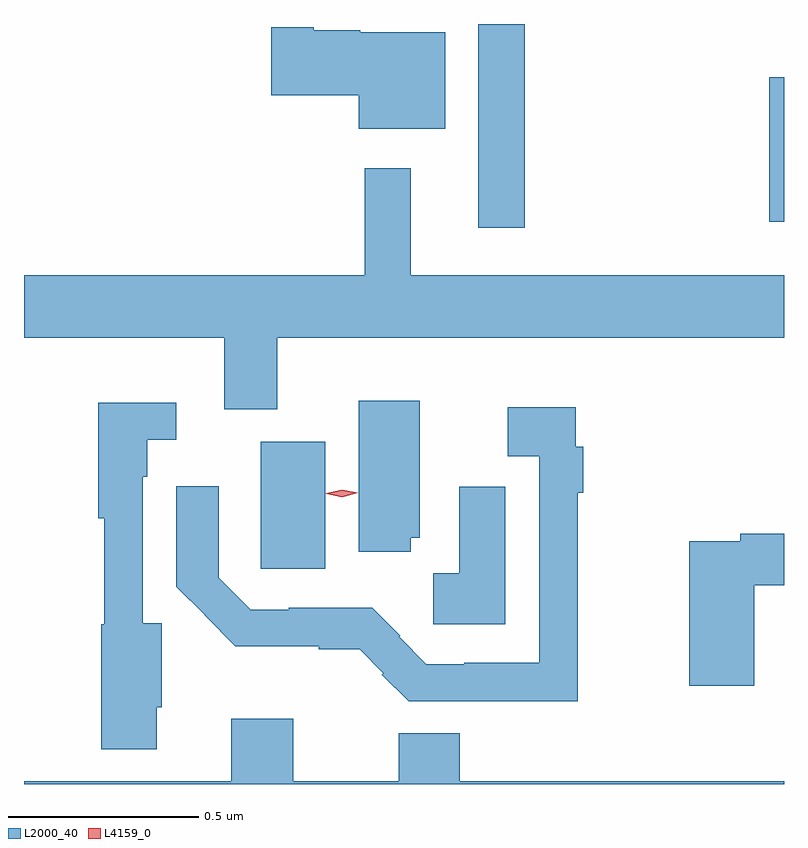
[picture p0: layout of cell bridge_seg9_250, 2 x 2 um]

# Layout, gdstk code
import gdstk
lib = gdstk.Library(unit=1e-6, precision=1e-09)
def R(c, l, rs):  # rectangles x0, y0, x1, y1
    for r in rs: c.add(gdstk.rectangle(r[:2], r[2:], *l))
def P(c, l, *ps):  # polygons
    for p in ps: c.add(gdstk.Polygon(p, *l))
L2000_40 = (2000, 40)
L4159_0 = (4159, 0)

bridge_seg9_250 = lib.new_cell('bridge_seg9_250')
R(bridge_seg9_250, L2000_40, [(360.02,1167.84,360.19,1168.174), (360.593,1168.737,360.715,1169.273), (361.358,1168.752,361.397,1169.133)])
P(bridge_seg9_250, L2000_40, [(360.505,1169.251),(360.282,1169.251),(360.282,1169.257),(360.16,1169.257),(360.16,1169.264),(360.048,1169.264),(360.048,1169.086),(360.278,1169.086),(360.278,1168.997),(360.505,1168.997)],
  [(360.064,1168.448),(361.397,1168.448),(361.397,1168.612),(360.415,1168.612),(360.415,1168.894),(360.294,1168.894),(360.294,1168.612),(359.397,1168.612),(359.397,1168.448),(359.924,1168.448),(359.924,1168.259),(360.064,1168.259)],
  [(360.415,1167.921),(360.439,1167.921),(360.439,1168.282),(360.278,1168.282),(360.278,1167.884),(360.415,1167.884)],
  [(359.746,1167.475),(359.759,1167.475),(359.759,1167.696),(359.709,1167.696),(359.709,1168.082),(359.721,1168.082),(359.721,1168.179),(359.797,1168.179),(359.797,1168.276),(359.593,1168.276),(359.593,1167.972),(359.608,1167.972),(359.608,1167.693),(359.6,1167.693),(359.6,1167.365),(359.746,1167.365)],
  [(360.854,1168.04),(360.869,1168.04),(360.869,1168.16),(360.849,1168.16),(360.849,1168.264),(360.67,1168.264),(360.67,1168.136),(360.753,1168.136),(360.753,1167.592),(360.556,1167.592),(360.556,1167.588),(360.456,1167.588),(360.384,1167.66),(360.387,1167.663),(360.313,1167.737),(360.094,1167.737),(360.094,1167.732),(359.994,1167.732),(359.91,1167.816),(359.91,1168.057),(359.798,1168.057),(359.798,1167.792),(359.872,1167.718),(359.872,1167.717),(359.953,1167.635),(360.173,1167.635),(360.173,1167.627),(360.281,1167.627),(360.343,1167.565),(360.339,1167.561),(360.409,1167.491),(360.854,1167.491)],
  [(360.664,1168.055),(360.542,1168.055),(360.542,1167.827),(360.474,1167.827),(360.474,1167.694),(360.664,1167.694)],
  [(361.319,1167.796),(361.397,1167.796),(361.397,1167.932),(361.282,1167.932),(361.282,1167.912),(361.148,1167.912),(361.148,1167.531),(361.319,1167.531)],
  [(361.397,1167.28),(360.544,1167.28),(360.544,1167.406),(360.383,1167.406),(360.383,1167.28),(360.106,1167.28),(360.106,1167.445),(359.942,1167.445),(359.942,1167.28),(359.397,1167.28),(359.397,1167.273),(361.397,1167.273)])
P(bridge_seg9_250, L4159_0, [(360.234,1168.028),(360.193,1168.037),(360.193,1168.037),(360.193,1168.038),(360.234,1168.048),(360.275,1168.039),(360.275,1168.039),(360.275,1168.039)])

lib.write_gds('bridge_seg9_250.gds')
